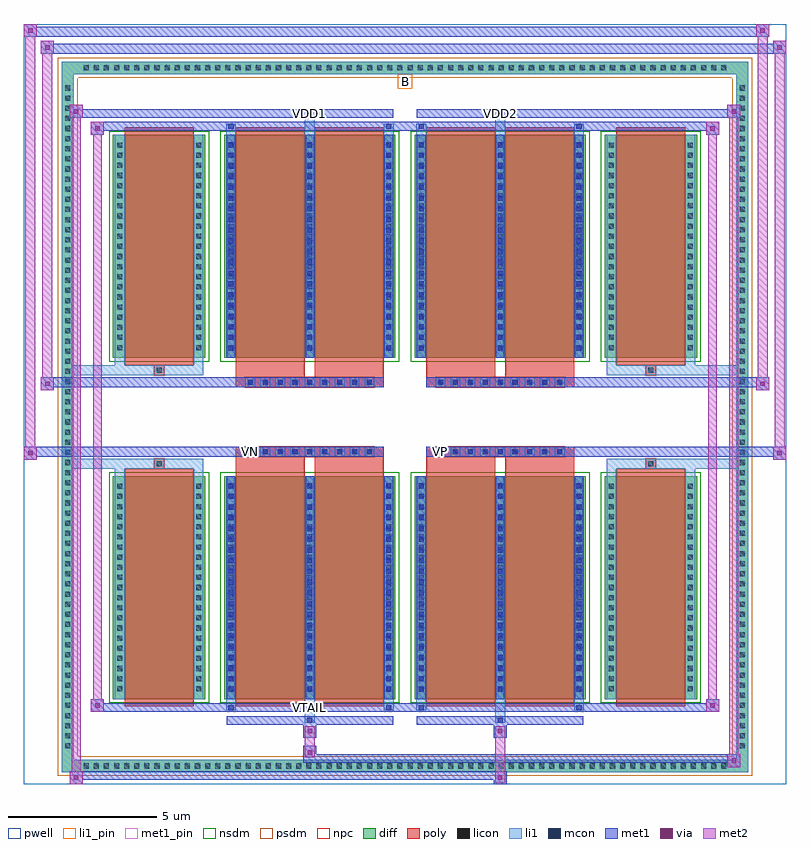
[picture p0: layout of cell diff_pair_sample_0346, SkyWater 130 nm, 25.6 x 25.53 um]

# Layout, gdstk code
import gdstk
lib = gdstk.Library(unit=1e-6, precision=5e-09)
def R(c, l, rs):  # rectangles x0, y0, x1, y1
    for r in rs: c.add(gdstk.rectangle(r[:2], r[2:], *l))
def A(c, l, x, y, w, h, nx, ny, dx, dy):  # array of equal rectangles
    R(c, l, [(x+i*dx, y+j*dy, x+i*dx+w, y+j*dy+h) for i in range(nx) for j in range(ny)])
def P(c, l, *ps):  # polygons
    for p in ps: c.add(gdstk.Polygon(p, *l))
pwell = (64, 44)
diff = (65, 20)
poly = (66, 20)
licon = (66, 44)
li1_pin = (67, 16)
li1 = (67, 20)
mcon = (67, 44)
met1_pin = (68, 16)
met1 = (68, 20)
via = (68, 44)
met2 = (69, 20)
nsdm = (93, 44)
psdm = (94, 20)
npc = (95, 20)

diff_pair_sample_0346 = lib.new_cell('diff_pair_sample_0346')
R(diff_pair_sample_0346, pwell, [(-12.8,-12.33,12.8,13.2), (-10.12,-10.52,-0.01,-0.8), (0.01,-10.52,10.12,-0.8), (-10.12,0.8,-0.01,10.52), (0.01,0.8,10.12,10.52)])
A(diff_pair_sample_0346, diff, -10.915, -11.93, 0.41, 0.41, 64, 2, 0.34, 23.45)
A(diff_pair_sample_0346, diff, -11.53, -11.255, 0.41, 0.41, 1, 66, 0, 0.34)
A(diff_pair_sample_0346, diff, 11.12, -11.255, 0.41, 0.41, 1, 66, 0, 0.34)
R(diff_pair_sample_0346, diff, [(-10.915,-11.93,10.915,-11.52), (-11.53,-11.255,-11.12,11.255), (11.12,-11.255,11.53,11.255), (-9.81,-9.475,-6.71,-1.985), (-6.07,-9.475,-0.32,-1.985), (0.32,-9.475,6.07,-1.985), (6.71,-9.475,9.81,-1.985), (-9.81,1.985,-6.71,9.475), (-6.07,1.985,-0.32,9.475), (0.32,1.985,6.07,9.475), (6.71,1.985,9.81,9.475), (-10.915,11.52,10.915,11.93)])
P(diff_pair_sample_0346, diff, [(11.53,11.93),(-11.53,11.93),(-11.53,-11.52),(-11.12,-11.52),(-11.12,11.52),(11.12,11.52),(11.12,-11.52),(-11.12,-11.52),(-11.53,-11.52),(-11.53,-11.93),(11.53,-11.93)])
A(diff_pair_sample_0346, poly, -5.36, -1.33, 0.33, 0.33, 9, 2, 0.5, 2.33)
A(diff_pair_sample_0346, poly, 1.03, -1.33, 0.33, 0.33, 9, 2, 0.5, 2.33)
R(diff_pair_sample_0346, poly, [(-9.42,-9.725,-7.1,-1.735), (-5.68,-9.725,-3.36,-1.735), (-3.03,-9.725,-0.71,-1.735), (0.71,-9.725,3.03,-1.735), (3.36,-9.725,5.68,-1.735), (7.1,-9.725,9.42,-1.735), (-8.425,-1.735,-8.095,-1.405), (-8.425,-1.735,-8.095,-1.405), (-5.68,-1.735,-3.36,-1.33), (-3.03,-1.735,-0.71,-1.33), (0.71,-1.735,3.03,-1.33), (3.36,-1.735,5.68,-1.33), (8.095,-1.735,8.425,-1.405), (8.095,-1.735,8.425,-1.405), (-5.68,-1.33,-0.71,-1), (0.71,-1.33,5.68,-1), (-5.68,1,-0.71,1.33), (0.71,1,5.68,1.33), (-5.68,1.33,-3.36,1.735), (-3.03,1.33,-0.71,1.735), (0.71,1.33,3.03,1.735), (3.36,1.33,5.68,1.735), (-8.425,1.405,-8.095,1.735), (-8.425,1.405,-8.095,1.735), (8.095,1.405,8.425,1.735), (8.095,1.405,8.425,1.735), (-9.42,1.735,-7.1,9.725), (-5.68,1.735,-3.36,9.725), (-3.03,1.735,-0.71,9.725), (0.71,1.735,3.03,9.725), (3.36,1.735,5.68,9.725), (7.1,1.735,9.42,9.725)])
A(diff_pair_sample_0346, licon, -10.795, -11.81, 0.17, 0.17, 64, 2, 0.34, 23.45)
A(diff_pair_sample_0346, licon, -11.41, -11.135, 0.17, 0.17, 1, 66, 0, 0.34)
A(diff_pair_sample_0346, licon, 11.24, -11.135, 0.17, 0.17, 1, 66, 0, 0.34)
A(diff_pair_sample_0346, licon, -9.67, -9.215, 0.17, 0.17, 1, 21, 0, 0.34)
A(diff_pair_sample_0346, licon, -7.02, -9.215, 0.17, 0.17, 1, 21, 0, 0.34)
A(diff_pair_sample_0346, licon, -5.93, -9.215, 0.17, 0.17, 3, 21, 2.65, 0.34)
A(diff_pair_sample_0346, licon, 0.46, -9.215, 0.17, 0.17, 3, 21, 2.65, 0.34)
A(diff_pair_sample_0346, licon, 6.85, -9.215, 0.17, 0.17, 1, 21, 0, 0.34)
A(diff_pair_sample_0346, licon, 9.5, -9.215, 0.17, 0.17, 1, 21, 0, 0.34)
A(diff_pair_sample_0346, licon, -5.28, -1.25, 0.17, 0.17, 9, 2, 0.5, 2.33)
A(diff_pair_sample_0346, licon, 1.11, -1.25, 0.17, 0.17, 9, 2, 0.5, 2.33)
A(diff_pair_sample_0346, licon, -9.67, 2.245, 0.17, 0.17, 1, 21, 0, 0.34)
A(diff_pair_sample_0346, licon, -7.02, 2.245, 0.17, 0.17, 1, 21, 0, 0.34)
A(diff_pair_sample_0346, licon, -5.93, 2.245, 0.17, 0.17, 3, 21, 2.65, 0.34)
A(diff_pair_sample_0346, licon, 0.46, 2.245, 0.17, 0.17, 3, 21, 2.65, 0.34)
A(diff_pair_sample_0346, licon, 6.85, 2.245, 0.17, 0.17, 1, 21, 0, 0.34)
A(diff_pair_sample_0346, licon, 9.5, 2.245, 0.17, 0.17, 1, 21, 0, 0.34)
R(diff_pair_sample_0346, licon, [(-8.345,-1.655,-8.175,-1.485), (8.175,-1.655,8.345,-1.485), (-8.345,1.485,-8.175,1.655), (8.175,1.485,8.345,1.655)])
R(diff_pair_sample_0346, li1_pin, [(-0.25,11.02,0.25,11.52)])
A(diff_pair_sample_0346, li1, -10.875, -11.89, 0.33, 0.33, 64, 2, 0.34, 23.45)
A(diff_pair_sample_0346, li1, -11.49, -11.215, 0.33, 0.33, 1, 66, 0, 0.34)
A(diff_pair_sample_0346, li1, 11.16, -11.215, 0.33, 0.33, 1, 66, 0, 0.34)
A(diff_pair_sample_0346, li1, -6.01, -9.475, 0.33, 7.49, 3, 2, 2.65, 11.46)
A(diff_pair_sample_0346, li1, 0.38, -9.475, 0.33, 7.49, 3, 2, 2.65, 11.46)
A(diff_pair_sample_0346, li1, -9.75, -9.295, 0.33, 0.33, 1, 21, 0, 0.34)
A(diff_pair_sample_0346, li1, -7.1, -9.295, 0.33, 0.33, 1, 21, 0, 0.34)
A(diff_pair_sample_0346, li1, -6.01, -9.295, 0.33, 0.33, 3, 21, 2.65, 0.34)
A(diff_pair_sample_0346, li1, 0.38, -9.295, 0.33, 0.33, 3, 21, 2.65, 0.34)
A(diff_pair_sample_0346, li1, 6.77, -9.295, 0.33, 0.33, 1, 21, 0, 0.34)
A(diff_pair_sample_0346, li1, 9.42, -9.295, 0.33, 0.33, 1, 21, 0, 0.34)
A(diff_pair_sample_0346, li1, -5.93, -9.235, 0.17, 0.17, 3, 20, 2.65, 0.36)
A(diff_pair_sample_0346, li1, -5.93, -9.235, 0.17, 7.01, 3, 2, 2.65, 11.46)
A(diff_pair_sample_0346, li1, 0.46, -9.235, 0.17, 0.17, 3, 20, 2.65, 0.36)
A(diff_pair_sample_0346, li1, 0.46, -9.235, 0.17, 7.01, 3, 2, 2.65, 11.46)
A(diff_pair_sample_0346, li1, -5.36, -1.33, 0.33, 0.33, 9, 2, 0.5, 2.33)
A(diff_pair_sample_0346, li1, 1.03, -1.33, 0.33, 0.33, 9, 2, 0.5, 2.33)
A(diff_pair_sample_0346, li1, -9.75, 2.165, 0.33, 0.33, 1, 21, 0, 0.34)
A(diff_pair_sample_0346, li1, -7.1, 2.165, 0.33, 0.33, 1, 21, 0, 0.34)
A(diff_pair_sample_0346, li1, -6.01, 2.165, 0.33, 0.33, 3, 21, 2.65, 0.34)
A(diff_pair_sample_0346, li1, 0.38, 2.165, 0.33, 0.33, 3, 21, 2.65, 0.34)
A(diff_pair_sample_0346, li1, 6.77, 2.165, 0.33, 0.33, 1, 21, 0, 0.34)
A(diff_pair_sample_0346, li1, 9.42, 2.165, 0.33, 0.33, 1, 21, 0, 0.34)
A(diff_pair_sample_0346, li1, -5.93, 2.225, 0.17, 0.17, 3, 20, 2.65, 0.36)
A(diff_pair_sample_0346, li1, 0.46, 2.225, 0.17, 0.17, 3, 20, 2.65, 0.36)
R(diff_pair_sample_0346, li1, [(-11.53,-11.93,-11.12,-11.52), (-11.53,-11.93,-11.12,-11.52), (-11.12,-11.93,11.12,-11.52), (11.12,-11.93,11.53,-11.52), (11.12,-11.93,11.53,-11.52), (-11.53,-11.52,-11.12,11.52), (11.12,-11.52,11.53,11.52), (-3.36,-10.28,-3.03,-9.475), (-3.28,-10.28,-3.11,-10.11), (3.03,-10.28,3.36,-9.475), (3.11,-10.28,3.28,-10.11), (-6.01,-9.85,-5.68,-9.475), (-5.93,-9.85,-5.76,-9.68), (-0.71,-9.85,-0.38,-9.475), (-0.63,-9.85,-0.46,-9.68), (0.38,-9.85,0.71,-9.475), (0.46,-9.85,0.63,-9.68), (5.68,-9.85,6.01,-9.475), (5.76,-9.85,5.93,-9.68), (-9.75,-9.475,-9.42,-1.985), (-7.1,-9.475,-6.77,-1.985), (6.77,-9.475,7.1,-1.985), (9.42,-9.475,9.75,-1.985), (-9.75,-1.985,-9.42,-1.405), (-7.1,-1.985,-6.77,-1.405), (6.77,-1.985,7.1,-1.405), (9.42,-1.985,9.75,-1.405), (-11.53,-1.735,-8.425,-1.405), (-9.75,-1.735,-8.425,-1.405), (-8.425,-1.735,-8.095,-1.405), (-8.095,-1.735,-6.77,-1.405), (6.77,-1.735,8.095,-1.405), (8.095,-1.735,8.425,-1.405), (8.095,-1.735,11.53,-1.405), (8.425,-1.735,9.75,-1.405), (-11.53,1.405,-8.425,1.735), (-9.75,1.405,-8.425,1.735), (-9.75,1.405,-9.42,1.985), (-8.425,1.405,-8.095,1.735), (-8.095,1.405,-6.77,1.735), (-7.1,1.405,-6.77,1.985), (6.77,1.405,8.095,1.735), (6.77,1.405,7.1,1.985), (8.095,1.405,8.425,1.735), (8.095,1.405,11.53,1.735), (8.425,1.405,9.75,1.735), (9.42,1.405,9.75,1.985), (-9.75,1.985,-9.42,9.475), (-7.1,1.985,-6.77,9.475), (6.77,1.985,7.1,9.475), (9.42,1.985,9.75,9.475), (-6.01,9.475,-5.68,9.85), (-3.36,9.475,-3.03,10.28), (-0.71,9.475,-0.38,9.85), (0.38,9.475,0.71,9.85), (3.03,9.475,3.36,10.28), (5.68,9.475,6.01,9.85), (-5.93,9.68,-5.76,9.85), (-0.63,9.68,-0.46,9.85), (0.46,9.68,0.63,9.85), (5.76,9.68,5.93,9.85), (-3.28,10.11,-3.11,10.28), (3.11,10.11,3.28,10.28), (-11.53,11.52,-11.12,11.93), (-11.53,11.52,-11.12,11.93), (-11.12,11.52,11.12,11.93), (11.12,11.52,11.53,11.93), (11.12,11.52,11.53,11.93)])
A(diff_pair_sample_0346, mcon, -5.93, -9.235, 0.17, 0.17, 3, 20, 2.65, 0.36)
A(diff_pair_sample_0346, mcon, 0.46, -9.235, 0.17, 0.17, 3, 20, 2.65, 0.36)
A(diff_pair_sample_0346, mcon, -5.28, -1.25, 0.17, 0.17, 9, 2, 0.5, 2.33)
A(diff_pair_sample_0346, mcon, 1.11, -1.25, 0.17, 0.17, 9, 2, 0.5, 2.33)
A(diff_pair_sample_0346, mcon, -5.93, 2.225, 0.17, 0.17, 3, 20, 2.65, 0.36)
A(diff_pair_sample_0346, mcon, 0.46, 2.225, 0.17, 0.17, 3, 20, 2.65, 0.36)
R(diff_pair_sample_0346, mcon, [(-3.28,-10.28,-3.11,-10.11), (3.11,-10.28,3.28,-10.11), (-5.93,-9.85,-5.76,-9.68), (-0.63,-9.85,-0.46,-9.68), (0.46,-9.85,0.63,-9.68), (5.76,-9.85,5.93,-9.68), (-5.93,9.68,-5.76,9.85), (-0.63,9.68,-0.46,9.85), (0.46,9.68,0.63,9.85), (5.76,9.68,5.93,9.85), (-3.28,10.11,-3.11,10.28), (3.11,10.11,3.28,10.28)])
R(diff_pair_sample_0346, met1_pin, [(-3.33,-9.89,-3.06,-9.62), (-5.33,-1.29,-5.06,-1.02), (1.06,-1.29,1.33,-1.02), (-3.33,10.07,-3.06,10.34), (3.06,10.07,3.33,10.34)])
A(diff_pair_sample_0346, met1, -5.99, -9.475, 0.29, 7.49, 3, 2, 2.65, 11.46)
A(diff_pair_sample_0346, met1, 0.4, -9.475, 0.29, 7.49, 3, 2, 2.65, 11.46)
A(diff_pair_sample_0346, met1, -5.99, -9.295, 0.29, 0.29, 3, 20, 2.65, 0.36)
A(diff_pair_sample_0346, met1, 0.4, -9.295, 0.29, 0.29, 3, 20, 2.65, 0.36)
A(diff_pair_sample_0346, met1, -5.34, -1.31, 0.29, 0.29, 9, 2, 0.5, 2.33)
A(diff_pair_sample_0346, met1, 1.05, -1.31, 0.29, 0.29, 9, 2, 0.5, 2.33)
A(diff_pair_sample_0346, met1, -5.99, 2.165, 0.29, 0.29, 3, 20, 2.65, 0.36)
A(diff_pair_sample_0346, met1, 0.4, 2.165, 0.29, 0.29, 3, 20, 2.65, 0.36)
R(diff_pair_sample_0346, met1, [(-11.26,-12.33,-10.83,-11.9), (2.98,-12.33,3.41,-11.9), (-11.26,-12.19,3.41,-11.9), (10.83,-11.76,11.26,-11.33), (-3.41,-11.62,11.26,-11.33), (-3.41,-11.48,-2.98,-11.05), (-3.41,-10.77,-2.98,-10.34), (2.98,-10.77,3.41,-10.34), (-5.99,-10.34,-0.4,-10.05), (-3.34,-10.34,-3.05,-10.05), (0.4,-10.34,5.99,-10.05), (3.05,-10.34,3.34,-10.05), (-10.55,-9.91,-10.12,-9.48), (-10.55,-9.91,-5.99,-9.62), (-5.99,-9.91,-5.7,-9.62), (-5.99,-9.91,-0.4,-9.62), (-0.69,-9.91,-0.4,-9.62), (-0.4,-9.91,0.4,-9.62), (0.4,-9.91,0.69,-9.62), (0.4,-9.91,5.99,-9.62), (5.7,-9.91,5.99,-9.62), (5.99,-9.91,10.55,-9.62), (10.12,-9.91,10.55,-9.48), (-12.8,-1.43,-12.37,-1), (12.37,-1.43,12.8,-1), (-12.8,-1.33,-0.71,-1), (-5.68,-1.33,-0.71,-1), (0.71,-1.33,5.68,-1), (0.71,-1.33,12.8,-1), (-12.23,0.9,-11.8,1.33), (11.8,0.9,12.23,1.33), (-12.23,1,-5.68,1.33), (-5.68,1,-0.71,1.33), (0.71,1,5.68,1.33), (5.68,1,12.23,1.33), (-10.55,9.48,-10.12,9.91), (10.12,9.48,10.55,9.91), (-10.55,9.62,-5.99,9.91), (-5.99,9.62,-5.7,9.91), (-5.99,9.62,-0.4,9.91), (-0.69,9.62,-0.4,9.91), (-0.4,9.62,0.4,9.91), (0.4,9.62,0.69,9.91), (0.4,9.62,5.99,9.91), (5.7,9.62,5.99,9.91), (5.99,9.62,10.55,9.91), (-11.26,10.05,-10.83,10.48), (-11.26,10.05,-5.99,10.34), (-5.99,10.05,-0.4,10.34), (-3.34,10.05,-3.05,10.34), (0.4,10.05,5.99,10.34), (3.05,10.05,3.34,10.34), (5.99,10.05,11.26,10.34), (10.83,10.05,11.26,10.48), (-12.23,12.2,-11.8,12.63), (-12.23,12.2,-10.12,12.53), (-10.12,12.2,10.12,12.53), (10.12,12.2,12.8,12.53), (12.37,12.2,12.8,12.63), (-12.8,12.77,-12.37,13.2), (-12.8,12.77,-10.12,13.1), (-10.12,12.77,10.12,13.1), (10.12,12.77,12.23,13.1), (11.8,12.77,12.23,13.2)])
R(diff_pair_sample_0346, via, [(-11.12,-12.19,-10.97,-12.04), (3.12,-12.19,3.27,-12.04), (10.97,-11.62,11.12,-11.47), (-3.27,-11.34,-3.12,-11.19), (-3.27,-10.63,-3.12,-10.48), (3.12,-10.63,3.27,-10.48), (-10.41,-9.77,-10.26,-9.62), (10.26,-9.77,10.41,-9.62), (-12.66,-1.29,-12.51,-1.14), (12.51,-1.29,12.66,-1.14), (-12.09,1.04,-11.94,1.19), (11.94,1.04,12.09,1.19), (-10.41,9.62,-10.26,9.77), (10.26,9.62,10.41,9.77), (-11.12,10.19,-10.97,10.34), (10.97,10.19,11.12,10.34), (-12.09,12.34,-11.94,12.49), (12.51,12.34,12.66,12.49), (-12.66,12.91,-12.51,13.06), (11.94,12.91,12.09,13.06)])
R(diff_pair_sample_0346, met2, [(-11.26,-12.33,-10.83,-11.9), (-11.19,-12.33,-10.9,10.48), (-10.9,-12.33,-10.83,-11.9), (-11.21,-12.28,-10.88,-11.95), (3.03,-12.28,3.36,-11.95), (3.03,-11.95,3.36,-10.72), (10.83,-11.76,11.26,-11.33), (10.9,-11.76,11.19,10.48), (11.19,-11.76,11.26,-11.33), (10.88,-11.71,11.21,-11.38), (-3.36,-11.43,-3.03,-11.1), (-3.36,-11.1,-3.03,-10.72), (-3.36,-10.72,-3.03,-10.39), (3.03,-10.72,3.36,-10.39), (-10.55,-9.91,-10.12,-9.48), (-10.48,-9.91,-10.19,9.91), (-10.19,-9.91,-10.12,-9.48), (10.12,-9.91,10.55,-9.48), (10.19,-9.91,10.48,9.91), (10.48,-9.91,10.55,-9.48), (-10.5,-9.86,-10.17,-9.53), (10.17,-9.86,10.5,-9.53), (-12.8,-1.43,-12.37,-1), (-12.75,-1.43,-12.42,13.2), (-12.42,-1.43,-12.37,-1), (12.37,-1.43,12.8,-1), (12.42,-1.43,12.75,12.63), (12.75,-1.43,12.8,-1), (-12.75,-1.38,-12.42,-1.05), (12.42,-1.38,12.75,-1.05), (-12.23,0.9,-11.8,1.33), (-12.18,0.9,-11.85,12.63), (-11.85,0.9,-11.8,1.33), (11.8,0.9,12.23,1.33), (11.85,0.9,12.18,13.2), (12.18,0.9,12.23,1.33), (-12.18,0.95,-11.85,1.28), (11.85,0.95,12.18,1.28), (-10.55,9.48,-10.12,9.91), (-10.19,9.48,-10.12,9.91), (10.12,9.48,10.55,9.91), (10.48,9.48,10.55,9.91), (-10.5,9.53,-10.17,9.86), (10.17,9.53,10.5,9.86), (-11.26,10.05,-10.83,10.48), (-10.9,10.05,-10.83,10.48), (10.83,10.05,11.26,10.48), (11.19,10.05,11.26,10.48), (-11.21,10.1,-10.88,10.43), (10.88,10.1,11.21,10.43), (-12.23,12.2,-11.8,12.63), (-11.85,12.2,-11.8,12.63), (12.37,12.2,12.8,12.63), (12.75,12.2,12.8,12.63), (-12.18,12.25,-11.85,12.58), (12.42,12.25,12.75,12.58), (-12.8,12.77,-12.37,13.2), (-12.42,12.77,-12.37,13.2), (11.8,12.77,12.23,13.2), (12.18,12.77,12.23,13.2), (-12.75,12.82,-12.42,13.15), (11.85,12.82,12.18,13.15)])
R(diff_pair_sample_0346, nsdm, [(-9.94,-9.605,-6.58,-1.855), (-6.2,-9.605,-0.19,-1.855), (0.19,-9.605,6.2,-1.855), (6.58,-9.605,9.94,-1.855), (-9.94,1.855,-6.58,9.605), (-6.2,1.855,-0.19,9.605), (0.19,1.855,6.2,9.605), (6.58,1.855,9.94,9.605)])
P(diff_pair_sample_0346, psdm, [(11.66,12.06),(-11.66,12.06),(-11.66,-11.39),(-10.99,-11.39),(-10.99,11.39),(10.99,11.39),(10.99,-11.39),(-10.99,-11.39),(-11.66,-11.39),(-11.66,-12.06),(11.66,-12.06)])
A(diff_pair_sample_0346, npc, -5.38, -1.35, 0.37, 0.37, 9, 2, 0.5, 2.33)
A(diff_pair_sample_0346, npc, 1.01, -1.35, 0.37, 0.37, 9, 2, 0.5, 2.33)
R(diff_pair_sample_0346, npc, [(-8.445,-1.755,-8.075,-1.385), (8.075,-1.755,8.445,-1.385), (-5.38,-1.35,-4.51,-0.98), (-5.38,-1.35,-4.51,-0.98), (-4.88,-1.35,-4.01,-0.98), (-4.88,-1.35,-4.01,-0.98), (-4.38,-1.35,-3.51,-0.98), (-4.38,-1.35,-3.51,-0.98), (-3.88,-1.35,-3.01,-0.98), (-3.88,-1.35,-3.01,-0.98), (-3.38,-1.35,-2.51,-0.98), (-3.38,-1.35,-2.51,-0.98), (-2.88,-1.35,-2.01,-0.98), (-2.88,-1.35,-2.01,-0.98), (-2.38,-1.35,-1.51,-0.98), (-2.38,-1.35,-1.51,-0.98), (-1.88,-1.35,-1.01,-0.98), (-1.88,-1.35,-1.01,-0.98), (1.01,-1.35,1.88,-0.98), (1.01,-1.35,1.88,-0.98), (1.51,-1.35,2.38,-0.98), (1.51,-1.35,2.38,-0.98), (2.01,-1.35,2.88,-0.98), (2.01,-1.35,2.88,-0.98), (2.51,-1.35,3.38,-0.98), (2.51,-1.35,3.38,-0.98), (3.01,-1.35,3.88,-0.98), (3.01,-1.35,3.88,-0.98), (3.51,-1.35,4.38,-0.98), (3.51,-1.35,4.38,-0.98), (4.01,-1.35,4.88,-0.98), (4.01,-1.35,4.88,-0.98), (4.51,-1.35,5.38,-0.98), (4.51,-1.35,5.38,-0.98), (-5.38,0.98,-4.51,1.35), (-5.38,0.98,-4.51,1.35), (-4.88,0.98,-4.01,1.35), (-4.88,0.98,-4.01,1.35), (-4.38,0.98,-3.51,1.35), (-4.38,0.98,-3.51,1.35), (-3.88,0.98,-3.01,1.35), (-3.88,0.98,-3.01,1.35), (-3.38,0.98,-2.51,1.35), (-3.38,0.98,-2.51,1.35), (-2.88,0.98,-2.01,1.35), (-2.88,0.98,-2.01,1.35), (-2.38,0.98,-1.51,1.35), (-2.38,0.98,-1.51,1.35), (-1.88,0.98,-1.01,1.35), (-1.88,0.98,-1.01,1.35), (1.01,0.98,1.88,1.35), (1.01,0.98,1.88,1.35), (1.51,0.98,2.38,1.35), (1.51,0.98,2.38,1.35), (2.01,0.98,2.88,1.35), (2.01,0.98,2.88,1.35), (2.51,0.98,3.38,1.35), (2.51,0.98,3.38,1.35), (3.01,0.98,3.88,1.35), (3.01,0.98,3.88,1.35), (3.51,0.98,4.38,1.35), (3.51,0.98,4.38,1.35), (4.01,0.98,4.88,1.35), (4.01,0.98,4.88,1.35), (4.51,0.98,5.38,1.35), (4.51,0.98,5.38,1.35), (-8.445,1.385,-8.075,1.755), (8.075,1.385,8.445,1.755)])
diff_pair_sample_0346.add(gdstk.Label('VTAIL', (-3.195,-9.755), layer=68, texttype=5))
diff_pair_sample_0346.add(gdstk.Label('VN', (-5.195,-1.155), layer=68, texttype=5))
diff_pair_sample_0346.add(gdstk.Label('VP', (1.195,-1.155), layer=68, texttype=5))
diff_pair_sample_0346.add(gdstk.Label('B', (0,11.27), layer=67, texttype=5))
diff_pair_sample_0346.add(gdstk.Label('VDD2', (3.195,10.205), layer=68, texttype=5))
diff_pair_sample_0346.add(gdstk.Label('VDD1', (-3.195,10.205), layer=68, texttype=5))

lib.write_gds('diff_pair_sample_0346.gds')
